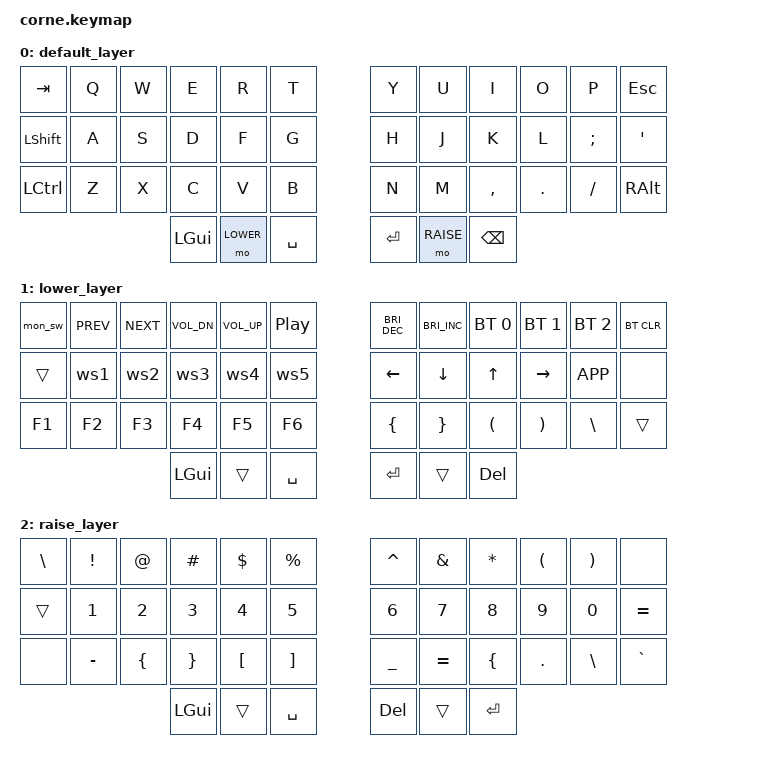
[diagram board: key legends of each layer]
/*
 * Copyright (c) 2020 The ZMK Contributors
 *
 * SPDX-License-Identifier: MIT
 */

#include <behaviors.dtsi>
#include <dt-bindings/zmk/bt.h>
#include <dt-bindings/zmk/keys.h>

#define DEFAULT 0
#define LOWER   1
#define RAISE   2

/ {
    /* Home Row Mod Behavior */

    /* Hyprland Macros */
    macros {
        mon_sw: mon_sw {
            compatible = "zmk,behavior-macro";
            #binding-cells = <0>;
            wait-ms = <0>;
            tap-ms = <0>;
      // binding LGui + tab for workspace switching
            bindings = <&macro_press &kp LGUI>,
                        <&macro_tap &kp TAB>, 
                        <&macro_release &kp LGUI>;
        };

        // Workspace 1: GUI + 1 (Simultaneous)
        ws1: ws1 {
            compatible = "zmk,behavior-macro";
            #binding-cells = <0>;
            wait-ms = <0>;
            tap-ms = <0>;
            bindings = <&macro_press &kp LGUI>, 
                       <&macro_tap &kp N1>, 
                       <&macro_release &kp LGUI>;
        };

        // Workspace 2: GUI + 2 (Simultaneous)
        ws2: ws2 {
            compatible = "zmk,behavior-macro";
            #binding-cells = <0>;
            wait-ms = <0>;
            tap-ms = <0>;
            bindings = <&macro_press &kp LGUI>, 
                       <&macro_tap &kp N2>, 
                       <&macro_release &kp LGUI>;
        };

        ws3: ws3 {
            compatible = "zmk,behavior-macro";
            #binding-cells = <0>;
            wait-ms = <0>;
            tap-ms = <0>;
            bindings = <&macro_press &kp LGUI>, 
                       <&macro_tap &kp N3>, 
                       <&macro_release &kp LGUI>;
        };

        ws4: ws4 {
            compatible = "zmk,behavior-macro";
            #binding-cells = <0>;
            wait-ms = <0>;
            tap-ms = <0>;
            bindings = <&macro_press &kp LGUI>, 
                        <&macro_tap &kp N4>,
                       <&macro_release &kp LGUI>;
        };

        ws5: ws5 {
            compatible = "zmk,behavior-macro";
            #binding-cells = <0>;
            wait-ms = <0>;
            tap-ms = <0>;
            bindings = <&macro_press &kp LGUI>, 
                        <&macro_tap &kp N5>,
                       <&macro_release &kp LGUI>;
        };
    };

    keymap {
        compatible = "zmk,keymap";

        default_layer {
            bindings = <
&kp TAB   &kp Q       &kp W       &kp E        &kp R        &kp T          &kp Y        &kp U        &kp I        &kp O       &kp P          &kp ESC
&kp LSHFT &kp A       &kp S       &kp D        &kp F        &kp G          &kp H        &kp J        &kp K        &kp L       &kp SCLN       &kp QUOT
&kp LCTL &kp Z       &kp X       &kp C        &kp V        &kp B          &kp N        &kp M        &kp COMMA    &kp DOT     &kp FSLH       &kp RALT
                         &kp LGUI &mo LOWER &kp SPACE                  &kp RET &mo RAISE &kp BSPC
            >;
        };

        lower_layer {
            bindings = <
&mon_sw   &kp C_PREV  &kp C_NEXT  &kp C_VOL_DN &kp C_VOL_UP &kp C_PP       &kp C_BRI_DEC &kp C_BRI_INC &bt BT_SEL 0 &bt BT_SEL 1 &bt BT_SEL 2 &bt BT_CLR
&trans    &ws1        &ws2        &ws3         &ws4         &ws5           &kp LEFT      &kp DOWN      &kp UP        &kp RIGHT    &kp K_APP &none
&kp F1    &kp F2      &kp F3      &kp F4       &kp F5       &kp F6         &kp LBRC      &kp RBRC      &kp LPAR      &kp RPAR     &kp BSLH &trans
                         &kp LGUI &trans &kp SPACE                     &kp RET &trans &kp DEL
            >;
        };

        raise_layer {
            bindings = <
&kp BSLH     &kp EXCL    &kp AT      &kp HASH     &kp DLLR     &kp PRCNT      &kp CARET     &kp AMPS      &kp STAR      &kp LPAR     &kp RPAR &none
&trans    &kp N1      &kp N2      &kp N3       &kp N4       &kp N5         &kp N6        &kp N7        &kp N8        &kp N9       &kp N0   &kp EQUAL
&none     &kp MINUS   &kp LBRC    &kp RBRC     &kp LBKT     &kp RBKT       &kp UNDER     &kp EQUAL     &kp LBRC      &kp DOT      &kp BSLH &kp GRAVE
                         &kp LGUI &trans &kp SPACE                     &kp DEL &trans &kp RET
            >;
        };
    };
};
